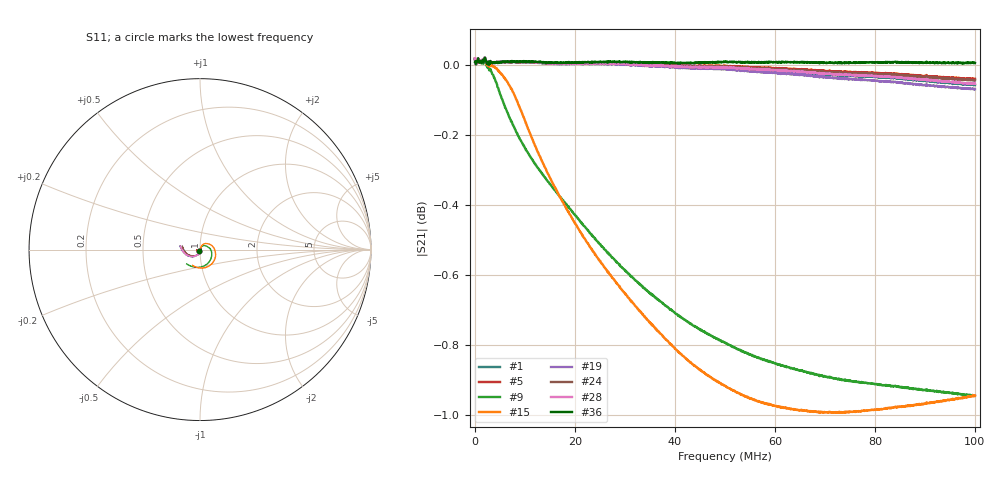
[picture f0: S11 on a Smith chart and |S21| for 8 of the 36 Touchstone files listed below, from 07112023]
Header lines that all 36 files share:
!Agilent Technologies,E5061B,MY49102235,A.02.00
!Data & Calibration Information:
!Freq	S11:SOLT2(ON)	S21:SOLT2(ON)	S12:SOLT2(ON)	S22:SOLT2(ON)
# Hz S RI R 50
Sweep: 5 Hz to 100 MHz
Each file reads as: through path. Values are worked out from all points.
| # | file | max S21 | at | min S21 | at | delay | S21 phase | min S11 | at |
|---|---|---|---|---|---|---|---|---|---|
| 1 | L76583BCN1_20A_AVG.S2P | 0.02 dB | 1.939 MHz | -0.1 dB | 99.75 MHz | 2.79 ns | -50 deg at 50.03 MHz | -48.2 dB | 1.001 MHz |
| 2 | L76583BCN1_25A_AVG.S2P | 0.02 dB | 2.001 MHz | -0.1 dB | 99.75 MHz | 2.78 ns | -50 deg at 50.03 MHz | -48.2 dB | 1.001 MHz |
| 3 | L76583BCN3_0A_AVG.S2P | 0.02 dB | 625.4 kHz | -1.0 dB | 99.75 MHz | 2.83 ns | -54 deg at 50.03 MHz | -45.4 dB | 500.3 kHz |
| 4 | L76583BCN3_5A_AVG.S2P | 0.02 dB | 625.4 kHz | -1.1 dB | 88.87 MHz | 2.86 ns | -55 deg at 50.03 MHz | -45.4 dB | 500.3 kHz |
| 5 | L76583BCN3_10A_AVG.S2P | 0.02 dB | 1.939 MHz | 0.0 dB | 99.81 MHz | 2.95 ns | -53 deg at 50.03 MHz | -50.8 dB | 2.126 MHz |
| 6 | L76583BCN3_15A_AVG.S2P | 0.02 dB | 1.939 MHz | 0.0 dB | 99.75 MHz | 2.81 ns | -51 deg at 50.03 MHz | -48.4 dB | 1.939 MHz |
| 7 | L76583BCN3_20A_AVG.S2P | 0.02 dB | 1.939 MHz | -0.1 dB | 99.75 MHz | 2.79 ns | -50 deg at 50.03 MHz | -48.3 dB | 1.001 MHz |
| 8 | L76583BCN3_25A_AVG.S2P | 0.02 dB | 1.939 MHz | -0.1 dB | 99.75 MHz | 2.78 ns | -50 deg at 50.03 MHz | -48.3 dB | 1.001 MHz |
| 9 | L76583BCN4_0A_AVG.S2P | 0.02 dB | 625.4 kHz | -0.9 dB | 99.75 MHz | 2.83 ns | -54 deg at 50.03 MHz | -45.4 dB | 500.3 kHz |
| 10 | L76583BCN4_1A_AVG.S2P | 0.02 dB | 625.4 kHz | -1.0 dB | 99.75 MHz | 2.83 ns | -54 deg at 50.03 MHz | -45.3 dB | 500.3 kHz |
| 11 | L76583BCN4_2A_AVG.S2P | 0.02 dB | 625.4 kHz | -1.0 dB | 99.75 MHz | 2.83 ns | -54 deg at 50.03 MHz | -45.4 dB | 500.3 kHz |
| 12 | L76583BCN4_3A_AVG.S2P | 0.02 dB | 625.4 kHz | -1.0 dB | 99.75 MHz | 2.84 ns | -54 deg at 50.03 MHz | -45.4 dB | 500.3 kHz |
| 13 | L76583BCN4_4A_AVG.S2P | 0.02 dB | 5 Hz | -1.0 dB | 96.44 MHz | 2.85 ns | -54 deg at 50.03 MHz | -45.4 dB | 500.3 kHz |
| 14 | L76583BCN4_5A_AVG.S2P | 0.02 dB | 625.4 kHz | -1.0 dB | 76.05 MHz | 2.86 ns | -55 deg at 50.03 MHz | -45.5 dB | 500.3 kHz |
| 15 | L76583BCN4_6A_AVG.S2P | 0.02 dB | 1.939 MHz | -1.0 dB | 68.92 MHz | 2.87 ns | -55 deg at 50.03 MHz | -45.6 dB | 500.3 kHz |
| 16 | L76583BCN4_7A_AVG.S2P | 0.02 dB | 1.939 MHz | -1.0 dB | 68.92 MHz | 2.9 ns | -56 deg at 50.03 MHz | -45.8 dB | 500.3 kHz |
| 17 | L76583BCN4_8A_AVG.S2P | 0.02 dB | 1.939 MHz | -0.9 dB | 81.49 MHz | 2.97 ns | -57 deg at 50.03 MHz | -46.3 dB | 500.3 kHz |
| 18 | L76583BCN4_9A_AVG.S2P | 0.02 dB | 2.001 MHz | -0.5 dB | 99.75 MHz | 3.08 ns | -57 deg at 50.03 MHz | -49.2 dB | 2.126 MHz |
| 19 | L76583BCN4_10A_AVG.S2P | 0.02 dB | 1.939 MHz | -0.1 dB | 99.75 MHz | 2.99 ns | -54 deg at 50.03 MHz | -51.5 dB | 17.7 MHz |
| 20 | L76583BCN4_11A_AVG.S2P | 0.02 dB | 2.001 MHz | 0.0 dB | 99.75 MHz | 2.9 ns | -52 deg at 50.03 MHz | -50.0 dB | 2.126 MHz |
| 21 | L76583BCN4_12A_AVG.S2P | 0.02 dB | 2.001 MHz | 0.0 dB | 99.75 MHz | 2.86 ns | -51 deg at 50.03 MHz | -49.3 dB | 2.126 MHz |
| 22 | L76583BCN4_13A_AVG.S2P | 0.02 dB | 2.001 MHz | 0.0 dB | 99.75 MHz | 2.83 ns | -51 deg at 50.03 MHz | -48.8 dB | 1.939 MHz |
| 23 | L76583BCN4_14A_AVG.S2P | 0.02 dB | 1.939 MHz | 0.0 dB | 99.75 MHz | 2.82 ns | -51 deg at 50.03 MHz | -48.6 dB | 1.939 MHz |
| 24 | L76583BCN4_15A_AVG.S2P | 0.02 dB | 1.939 MHz | 0.0 dB | 99.75 MHz | 2.81 ns | -51 deg at 50.03 MHz | -48.5 dB | 1.939 MHz |
| 25 | L76583BCN4_16A_AVG.S2P | 0.02 dB | 1.939 MHz | 0.0 dB | 99.75 MHz | 2.81 ns | -51 deg at 50.03 MHz | -48.4 dB | 1.001 MHz |
| 26 | L76583BCN4_17A_AVG.S2P | 0.02 dB | 2.001 MHz | 0.0 dB | 99.75 MHz | 2.8 ns | -50 deg at 50.03 MHz | -48.4 dB | 1.001 MHz |
| 27 | L76583BCN4_18A_AVG.S2P | 0.02 dB | 2.001 MHz | -0.1 dB | 99.75 MHz | 2.8 ns | -50 deg at 50.03 MHz | -48.4 dB | 1.001 MHz |
| 28 | L76583BCN4_19A_AVG.S2P | 0.02 dB | 1.939 MHz | -0.1 dB | 99.75 MHz | 2.79 ns | -50 deg at 50.03 MHz | -48.4 dB | 1.001 MHz |
| 29 | L76583BCN4_20A_AVG.S2P | 0.02 dB | 2.001 MHz | -0.1 dB | 99.75 MHz | 2.79 ns | -50 deg at 50.03 MHz | -48.4 dB | 1.001 MHz |
| 30 | L76583BCN4_21A_AVG.S2P | 0.02 dB | 1.939 MHz | -0.1 dB | 99.75 MHz | 2.79 ns | -50 deg at 50.03 MHz | -48.4 dB | 1.001 MHz |
| 31 | L76583BCN4_22A_AVG.S2P | 0.02 dB | 1.939 MHz | -0.1 dB | 99.75 MHz | 2.79 ns | -50 deg at 50.03 MHz | -48.4 dB | 1.001 MHz |
| 32 | L76583BCN4_23A_AVG.S2P | 0.02 dB | 2.001 MHz | -0.1 dB | 99.75 MHz | 2.79 ns | -50 deg at 50.03 MHz | -48.4 dB | 1.001 MHz |
| 33 | L76583BCN4_24A_AVG.S2P | 0.02 dB | 2.001 MHz | -0.1 dB | 99.75 MHz | 2.78 ns | -50 deg at 50.03 MHz | -48.4 dB | 1.001 MHz |
| 34 | L76583BCN4_25A_AVG.S2P | 0.02 dB | 1.939 MHz | -0.1 dB | 99.75 MHz | 2.78 ns | -50 deg at 50.03 MHz | -48.4 dB | 1.001 MHz |
| 35 | NO_SAMPLE_0A_AVG.S2P | 0.02 dB | 1.939 MHz | 0.0 dB | 2.814 MHz | 2.55 ns | -46 deg at 50.03 MHz | -55.8 dB | 94.93 MHz |
| 36 | NO_SAMPLE_25A_AVG.S2P | 0.02 dB | 2.001 MHz | 0.0 dB | 2.814 MHz | 2.55 ns | -46 deg at 50.03 MHz | -56.2 dB | 96.44 MHz |
